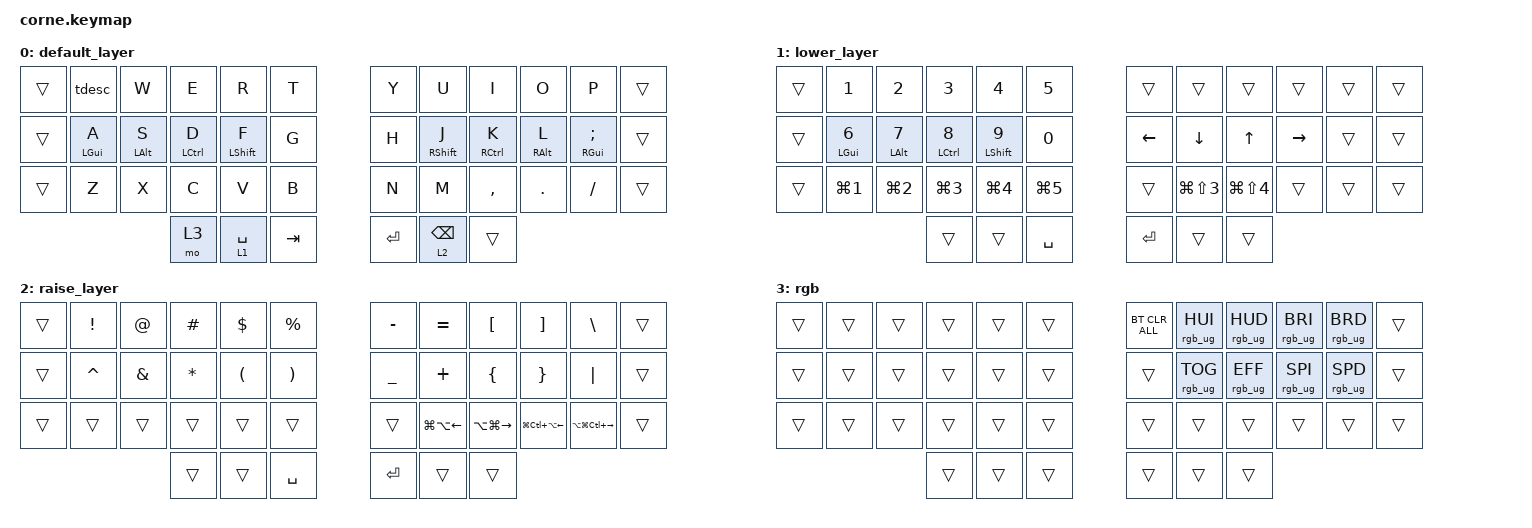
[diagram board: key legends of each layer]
/*
 * Copyright (c) 2020 The ZMK Contributors
 *
 * SPDX-License-Identifier: MIT
 */

#include <behaviors.dtsi>
#include <dt-bindings/zmk/bt.h>
#include <dt-bindings/zmk/keys.h>
#include <dt-bindings/zmk/rgb.h>

&mt {
    tapping-term-ms = <100>;
    flavor = "tap-preferred";
};

/ {
    behaviors {
        hm: hm {
            compatible = "zmk,behavior-hold-tap";
            label = "Home Row Mod";
            bindings = <&kp>, <&kp>;

            #binding-cells = <2>;
            tapping-term-ms = <250>;
            quick-tap-ms = <250>;
            require-prior-idle-ms = <250>;
            flavor = "tap-preferred";
        };

        tdesc: tdesc {
            compatible = "zmk,behavior-tap-dance";
            label = "Tap Dance Escape";
            #binding-cells = <0>;
            bindings = <&kp Q>, <&kp ESCAPE>;
        };
    };

    keymap {
        compatible = "zmk,keymap";

        default_layer {
            // -----------------------------------------------------------------------------------------
            // |  TAB |  Q  |  W  |  E  |  R  |  T  |   |  Y  |  U   |  I  |  O  |  P  | BSPC |
            // | CTRL |  A  |  S  |  D  |  F  |  G  |   |  H  |  J   |  K  |  L  |  ;  |  '   |
            // | SHFT |  Z  |  X  |  C  |  V  |  B  |   |  N  |  M   |  ,  |  .  |  /  | ESC  |
            //                    | GUI | LWR | SPC |   | ENT | RSE  | ALT |

            bindings = <
&trans  &tdesc          &kp W       &kp E        &kp R             &kp T      &kp Y    &kp U            &kp I        &kp O       &kp P          &trans
&trans  &hm LEFT_GUI A  &hm LALT S  &hm LCTRL D  &hm LEFT_SHIFT F  &kp G      &kp H    &hm RSHIFT J     &hm RCTRL K  &hm RALT L  &hm RGUI SEMI  &trans
&trans  &kp Z           &kp X       &kp C        &kp V             &kp B      &kp N    &kp M            &kp COMMA    &kp DOT     &kp FSLH       &trans
                                    &mo 3        &lt 1 SPACE       &kp TAB    &kp RET  &lt 2 BACKSPACE  &trans
            >;
        };

        lower_layer {
            // -----------------------------------------------------------------------------------------
            // |  TAB |  1  |  2  |  3  |  4  |  5  |   |  6  |  7  |  8  |  9  |  0  | BSPC |
            // | BTCLR| BT1 | BT2 | BT3 | BT4 | BT5 |   | LFT | DWN |  UP | RGT |     |      |
            // | SHFT |     |     |     |     |     |   |     |     |     |     |     |      |
            //                    | GUI |     | SPC |   | ENT |     | ALT |

            bindings = <
&trans  &kp N1             &kp N2            &kp N3            &kp N4            &kp N5        &trans    &trans          &trans                &trans     &trans  &trans
&trans  &hm LGUI NUMBER_6  &hm LALT N7       &hm LCTRL N8      &hm LSHIFT N9     &kp N0        &kp LEFT  &kp DOWN        &kp UP                &kp RIGHT  &trans  &trans
&trans  &kp LG(NUMBER_1)   &kp LG(NUMBER_2)  &kp LG(NUMBER_3)  &kp LG(NUMBER_4)  &kp LG(N5)    &trans    &kp LG(LS(N3))  &kp LG(LS(NUMBER_4))  &trans     &trans  &trans
                                             &trans            &trans            &kp SPACE     &kp RET   &trans          &trans
            >;
        };

        raise_layer {
            // -----------------------------------------------------------------------------------------
            // |  TAB |  !  |  @  |  #  |  $  |  %  |   |  ^  |  &  |  *  |  (  |  )  | BSPC |
            // | CTRL |     |     |     |     |     |   |  -  |  =  |  [  |  ]  |  \  |  `   |
            // | SHFT |     |     |     |     |     |   |  _  |  +  |  {  |  }  | "|" |  ~   |
            //                    | GUI |     | SPC |   | ENT |     | ALT |

            bindings = <
&trans  &kp EXCL   &kp AT         &kp HASH   &kp DLLR              &kp PRCNT                &kp MINUS       &kp EQUAL               &kp LBKT           &kp RBKT                    &kp BSLH               &trans
&trans  &kp CARET  &kp AMPERSAND  &kp ASTRK  &kp LEFT_PARENTHESIS  &kp RIGHT_PARENTHESIS    &kp UNDERSCORE  &kp PLUS                &kp LEFT_BRACE     &kp RIGHT_BRACE             &kp PIPE               &trans
&trans  &trans     &trans         &trans     &trans                &trans                   &trans          &kp LG(LA(LEFT_ARROW))  &kp LA(LG(RIGHT))  &kp LG(LC(LA(LEFT_ARROW)))  &kp LA(LG(LC(RIGHT)))  &trans
                                  &trans     &trans                &kp SPACE                &kp RET         &trans                  &trans
            >;
        };

        rgb {
            bindings = <
&trans  &trans  &trans  &trans  &trans  &trans    &bt BT_CLR_ALL  &rgb_ug RGB_HUI  &rgb_ug RGB_HUD  &rgb_ug RGB_BRI  &rgb_ug RGB_BRD  &trans
&trans  &trans  &trans  &trans  &trans  &trans    &trans          &rgb_ug RGB_TOG  &rgb_ug RGB_EFF  &rgb_ug RGB_SPI  &rgb_ug RGB_SPD  &trans
&trans  &trans  &trans  &trans  &trans  &trans    &trans          &trans           &trans           &trans           &trans           &trans
                        &trans  &trans  &trans    &trans          &trans           &trans
            >;
        };
    };
};

&led_strip { chain-length = <27>; };
